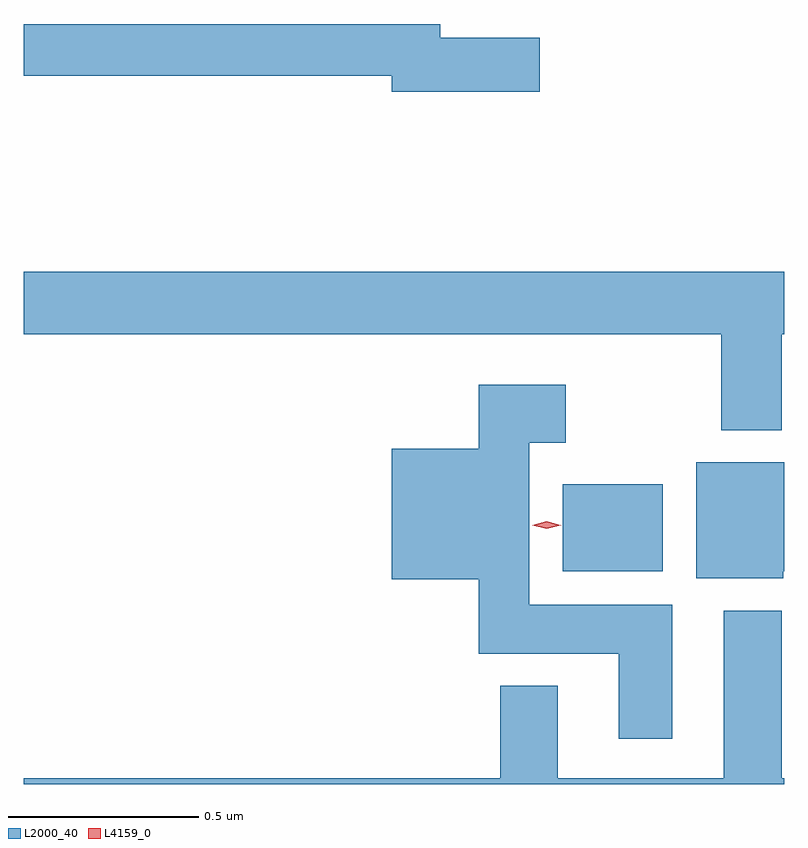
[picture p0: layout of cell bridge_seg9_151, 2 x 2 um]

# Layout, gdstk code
import gdstk
lib = gdstk.Library(unit=1e-6, precision=1e-09)
def R(c, l, rs):  # rectangles x0, y0, x1, y1
    for r in rs: c.add(gdstk.rectangle(r[:2], r[2:], *l))
def P(c, l, *ps):  # polygons
    for p in ps: c.add(gdstk.Polygon(p, *l))
L2000_40 = (2000, 40)
L4159_0 = (4159, 0)

bridge_seg9_151 = lib.new_cell('bridge_seg9_151')
R(bridge_seg9_151, L2000_40, [(557.402,1165.16,557.665,1165.39)])
P(bridge_seg9_151, L2000_40, [(557.341,1166.564),(557.08,1166.564),(557.08,1166.6),(555.984,1166.6),(555.984,1166.464),(556.952,1166.464),(556.952,1166.422),(557.341,1166.422)],
  [(557.978,1165.784),(557.984,1165.784),(557.984,1165.948),(555.984,1165.948),(555.984,1165.784),(557.818,1165.784),(557.818,1165.532),(557.978,1165.532)],
  [(557.689,1165.072),(557.314,1165.072),(557.314,1165.499),(557.41,1165.499),(557.41,1165.651),(557.18,1165.651),(557.18,1165.483),(556.952,1165.483),(556.952,1165.139),(557.18,1165.139),(557.18,1164.944),(557.549,1164.944),(557.549,1164.72),(557.689,1164.72)],
  [(557.982,1165.16),(557.984,1165.16),(557.984,1165.447),(557.753,1165.447),(557.753,1165.142),(557.982,1165.142)],
  [(557.984,1164.616),(557.978,1164.616),(557.978,1165.057),(557.825,1165.057),(557.825,1164.616),(557.389,1164.616),(557.389,1164.859),(557.237,1164.859),(557.237,1164.616),(555.984,1164.616),(555.984,1164.601),(557.984,1164.601)])
P(bridge_seg9_151, L4159_0, [(557.359,1165.272),(557.321,1165.282),(557.321,1165.282),(557.321,1165.282),(557.359,1165.292),(557.396,1165.282),(557.397,1165.282),(557.396,1165.282)])

lib.write_gds('bridge_seg9_151.gds')
